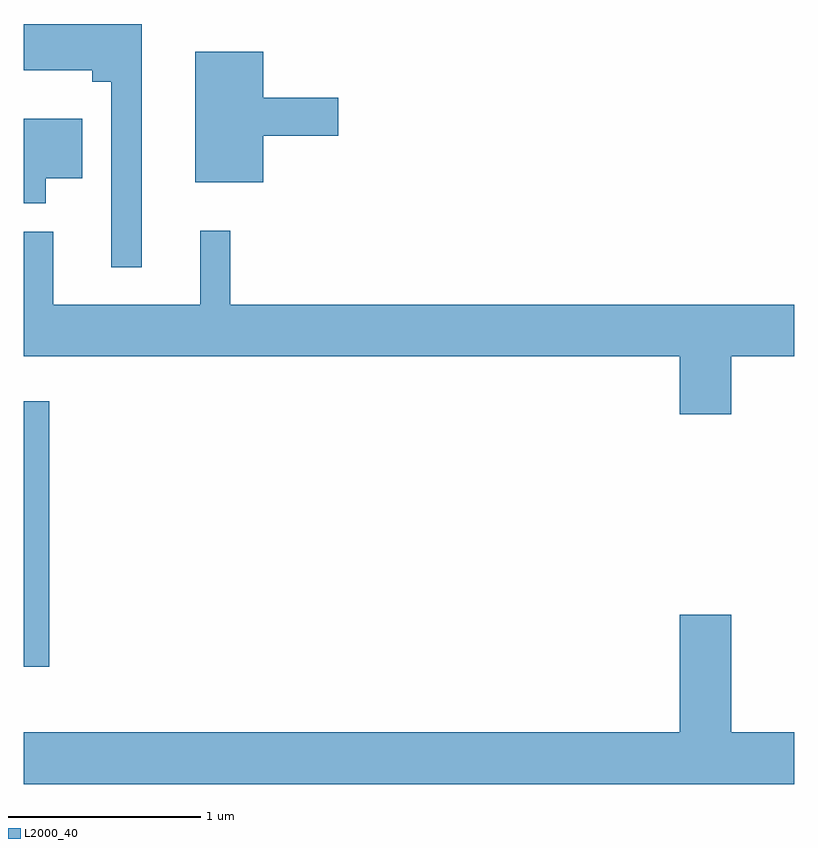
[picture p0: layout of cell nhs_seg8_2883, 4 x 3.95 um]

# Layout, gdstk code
import gdstk
lib = gdstk.Library(unit=1e-6, precision=1e-09)
def R(c, l, rs):  # rectangles x0, y0, x1, y1
    for r in rs: c.add(gdstk.rectangle(r[:2], r[2:], *l))
def P(c, l, *ps):  # polygons
    for p in ps: c.add(gdstk.Polygon(p, *l))
L2000_40 = (2000, 40)

nhs_seg8_2883 = lib.new_cell('nhs_seg8_2883')
R(nhs_seg8_2883, L2000_40, [(271.611,1857.006,271.744,1858.384)])
P(nhs_seg8_2883, L2000_40, [(272.224,1860.342),(271.611,1860.342),(271.611,1860.101),(271.966,1860.101),(271.966,1860.041),(272.066,1860.041),(272.066,1859.078),(272.224,1859.078)],
  [(272.854,1859.761),(273.244,1859.761),(273.244,1859.959),(272.854,1859.959),(272.854,1860.199),(272.501,1860.199),(272.501,1859.521),(272.854,1859.521)],
  [(271.724,1859.541),(271.914,1859.541),(271.914,1859.849),(271.611,1859.849),(271.611,1859.411),(271.724,1859.411)],
  [(275.284,1858.616),(275.611,1858.616),(275.611,1858.884),(272.684,1858.884),(272.684,1859.268),(272.526,1859.268),(272.526,1858.884),(271.764,1858.884),(271.764,1859.263),(271.611,1859.263),(271.611,1858.616),(275.016,1858.616),(275.016,1858.316),(275.284,1858.316)],
  [(275.611,1856.664),(275.284,1856.664),(275.284,1857.274),(275.016,1857.274),(275.016,1856.664),(271.611,1856.664),(271.611,1856.396),(275.611,1856.396)])

lib.write_gds('nhs_seg8_2883.gds')
